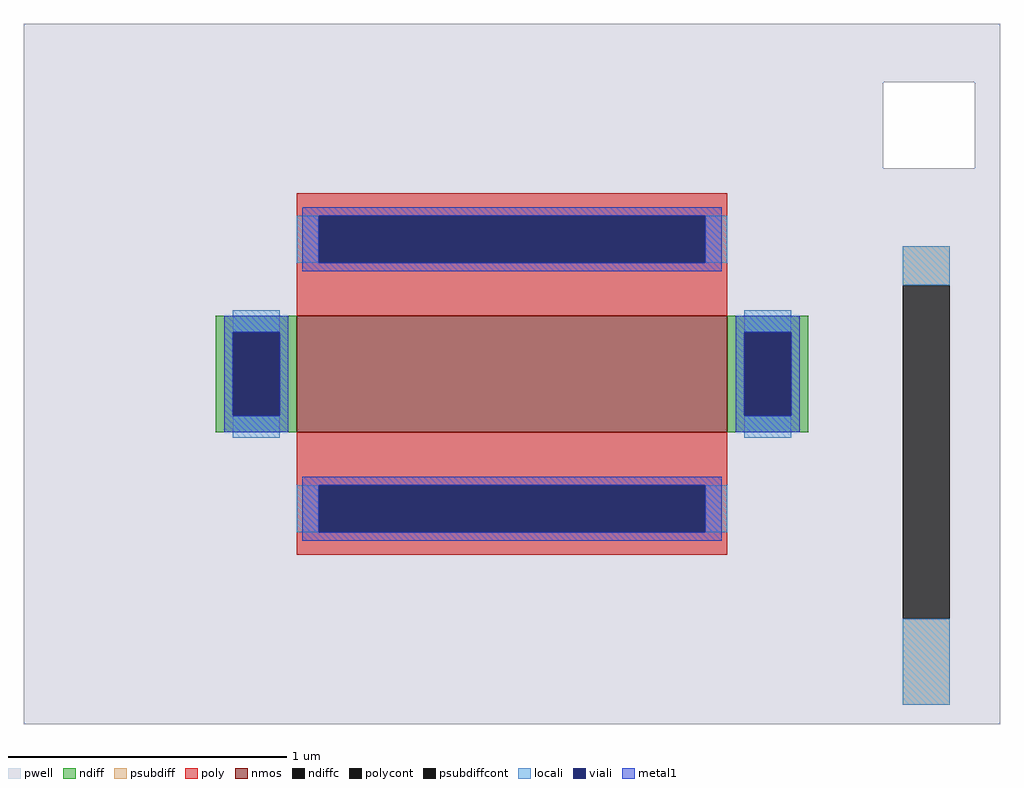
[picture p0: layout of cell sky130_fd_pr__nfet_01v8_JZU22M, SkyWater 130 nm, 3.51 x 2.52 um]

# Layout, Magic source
magic
tech sky130A
magscale 1 2
<< pwell >>
rect -351 210 351 252
rect -351 148 267 210
rect 333 148 351 210
rect -351 -252 351 148
<< nmos >>
rect -155 -42 155 42
<< ndiff >>
rect -213 30 -155 42
rect -213 -30 -201 30
rect -167 -30 -155 30
rect -213 -42 -155 -30
rect 155 30 213 42
rect 155 -30 167 30
rect 201 -30 213 30
rect 155 -42 213 -30
<< ndiffc >>
rect -201 -30 -167 30
rect 167 -30 201 30
<< psubdiff >>
rect 281 64 315 92
rect 281 -238 315 -176
<< psubdiffcont >>
rect 281 -176 315 64
<< poly >>
rect -155 114 155 130
rect -155 80 -139 114
rect 139 80 155 114
rect -155 42 155 80
rect -155 -80 155 -42
rect -155 -114 -139 -80
rect 139 -114 155 -80
rect -155 -130 155 -114
<< polycont >>
rect -139 80 139 114
rect -139 -114 139 -80
<< locali >>
rect -155 80 -139 114
rect 139 80 155 114
rect 281 64 315 92
rect -201 30 -167 46
rect -201 -46 -167 -30
rect 167 30 201 46
rect 167 -46 201 -30
rect -155 -114 -139 -80
rect 139 -114 155 -80
rect 281 -238 315 -176
<< viali >>
rect -139 80 139 114
rect -201 -30 -167 30
rect 167 -30 201 30
rect -139 -114 139 -80
<< metal1 >>
rect -151 114 151 120
rect -151 80 -139 114
rect 139 80 151 114
rect -151 74 151 80
rect -207 30 -161 42
rect -207 -30 -201 30
rect -167 -30 -161 30
rect -207 -42 -161 -30
rect 161 30 207 42
rect 161 -30 167 30
rect 201 -30 207 30
rect 161 -42 207 -30
rect -151 -80 151 -74
rect -151 -114 -139 -80
rect 139 -114 151 -80
rect -151 -120 151 -114
<< properties >>
string FIXED_BBOX -298 -199 298 199
string gencell sky130_fd_pr__nfet_01v8
string library sky130
string parameters w 0.42 l 1.55 m 1 nf 1 diffcov 100 polycov 100 guard 1 glc 1 grc 1 gtc 1 gbc 1 tbcov 100 rlcov 100 topc 1 botc 1 poverlap 0 doverlap 1 lmin 0.15 wmin 0.42 compatible {sky130_fd_pr__nfet_01v8 sky130_fd_pr__nfet_01v8_lvt  sky130_fd_bs_flash__special_sonosfet_star  sky130_fd_pr__nfet_g5v0d10v5 sky130_fd_pr__nfet_05v0_nvt  sky130_fd_pr__nfet_03v3_nvt} full_metal 1 viasrc 100 viadrn 100 viagate 100 viagb 0 viagr 0 viagl 0 viagt 0
<< end >>
